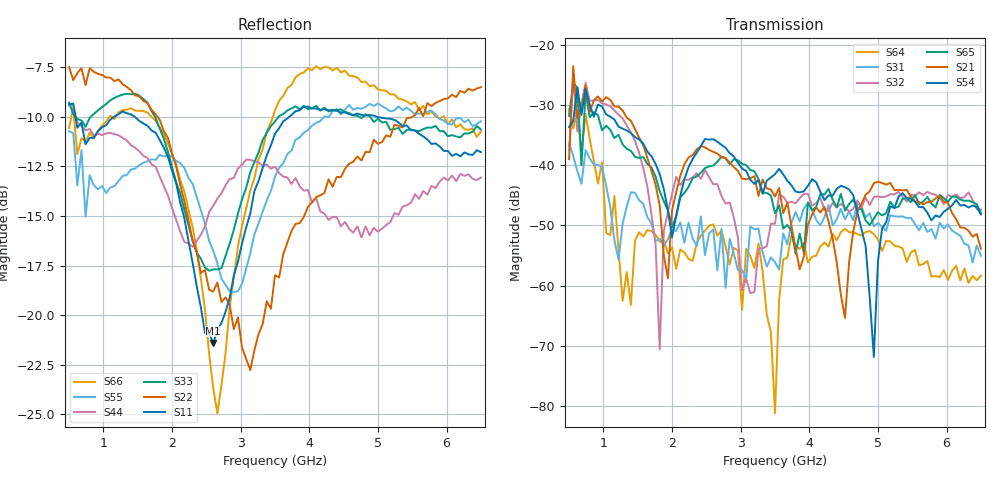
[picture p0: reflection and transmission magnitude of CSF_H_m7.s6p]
!Keysight Technologies,M9804A,MY58100912,A.14.10.03
!Date: Thursday, April 27, 2023 10:28:33
!Correction: S11(C  6-Port  )
!S12(C  6-Port  )
!S13(C  6-Port  )
!S14(C  6-Port  )
!S15(C  6-Port  )
!S16(C  6-Port  )
!S21(C  6-Port  )
!S22(C  6-Port  )
!S23(C  6-Port  )
!S24(C  6-Port  )
!S25(C  6-Port  )
!S26(C  6-Port  )
!S31(C  6-Port  )
!S32(C  6-Port  )
!S33(C  6-Port  )
!S34(C  6-Port  )
!S35(C  6-Port  )
!S36(C  6-Port  )
!S41(C  6-Port  )
!S42(C  6-Port  )
!S43(C  6-Port  )
!S44(C  6-Port  )
!S45(C  6-Port  )
!S46(C  6-Port  )
!S51(C  6-Port  )
!S52(C  6-Port  )
!S53(C  6-Port  )
!S54(C  6-Port  )
!S55(C  6-Port  )
!S56(C  6-Port  )
!S61(C  6-Port  )
!S62(C  6-Port  )
!S63(C  6-Port  )
!S64(C  6-Port  )
!S65(C  6-Port  )
!S66(C  6-Port  )
!S6P File: Measurement: :
# Hz S  RI  R 50
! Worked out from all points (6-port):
!   101 points, 500 MHz to 6.5 GHz, reference 50 ohm
!   strongest paths, dB at 500 MHz, 2 GHz, 3.5 GHz, 5 GHz, 6.5 GHz:
!     S54: -33.7, -52.0, -41.5, -56.0, -48.2
!     S21: -39.0, -47.5, -45.2, -42.7, -53.9
!     S65: -31.8, -50.3, -48.0, -47.8, -47.9
!     S32: -37.6, -44.8, -49.7, -45.2, -47.4
!     S31: -36.4, -50.7, -56.1, -49.6, -55.0
!     S64: -30.7, -53.6, -81.2, -52.3, -58.3
!   lowest |S11| = -21.4 dB at 2.6 GHz (marker M1), VSWR 1.19, Z = 42.5 + j2.27 ohm
!   |S11| at or under -10 dB: 592.9 MHz to 1.154 GHz (561.2 MHz wide, 64.2 % of centre); 1.459 GHz to 3.707 GHz (2.248 GHz wide, 87 % of centre); 4.988 GHz to end of sweep
